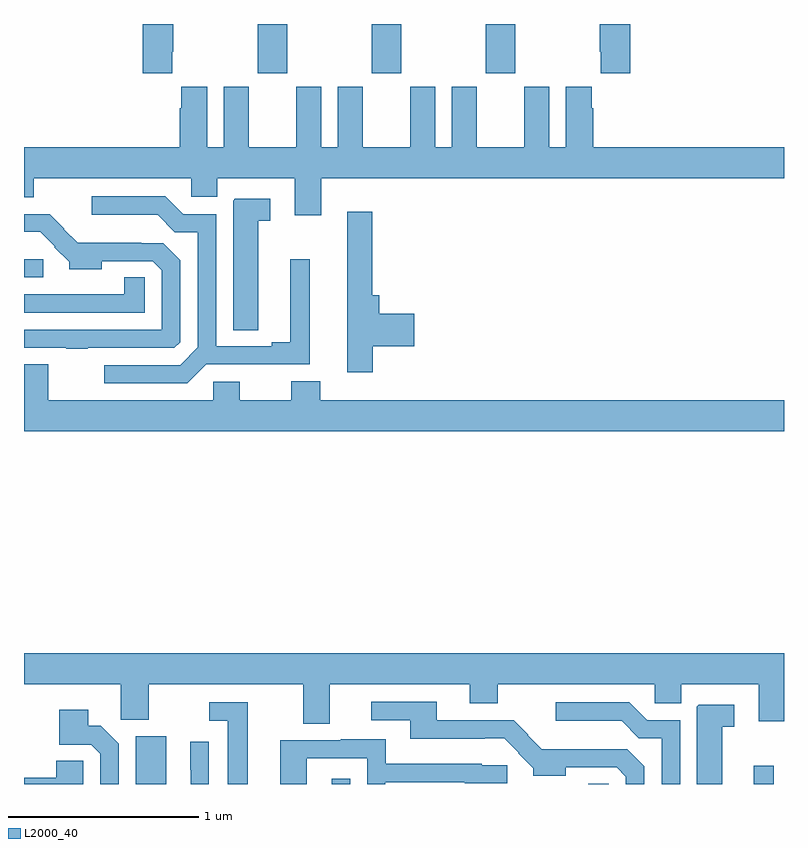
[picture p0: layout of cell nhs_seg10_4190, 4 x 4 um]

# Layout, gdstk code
import gdstk
lib = gdstk.Library(unit=1e-6, precision=1e-09)
def R(c, l, rs):  # rectangles x0, y0, x1, y1
    for r in rs: c.add(gdstk.rectangle(r[:2], r[2:], *l))
def A(c, l, x, y, w, h, nx, ny, dx, dy):  # array of equal rectangles
    R(c, l, [(x+i*dx, y+j*dy, x+i*dx+w, y+j*dy+h) for i in range(nx) for j in range(ny)])
def P(c, l, *ps):  # polygons
    for p in ps: c.add(gdstk.Polygon(p, *l))
L2000_40 = (2000, 40)

nhs_seg10_4190 = lib.new_cell('nhs_seg10_4190')
A(nhs_seg10_4190, L2000_40, 346.231, 1262.241, 0.155, 0.259, 3, 1, 0.6, 0)
R(nhs_seg10_4190, L2000_40, [(345.587,1258.5,345.748,1258.752), (346.619,1258.5,346.716,1258.528), (347.97,1258.5,348.078,1258.502), (348.842,1258.5,348.946,1258.597), (345,1261.167,345.102,1261.263)])
P(nhs_seg10_4190, L2000_40, [(348.191,1262.5),(348.031,1262.5),(348.031,1262.353),(348.035,1262.353),(348.035,1262.241),(348.191,1262.241)],
  [(345.781,1262.353),(345.786,1262.353),(345.786,1262.5),(345.626,1262.5),(345.626,1262.241),(345.781,1262.241)],
  [(346.564,1261.688),(349,1261.688),(349,1261.852),(347.996,1261.852),(347.996,1262.057),(347.989,1262.057),(347.989,1262.17),(347.852,1262.17),(347.852,1261.852),(347.764,1261.852),(347.764,1262.17),(347.633,1262.17),(347.633,1261.852),(347.383,1261.852),(347.383,1262.17),(347.252,1262.17),(347.252,1261.852),(347.164,1261.852),(347.164,1262.17),(347.033,1262.17),(347.033,1261.852),(346.783,1261.852),(346.783,1262.17),(346.652,1262.17),(346.652,1261.852),(346.564,1261.852),(346.564,1262.17),(346.433,1262.17),(346.433,1261.852),(346.183,1261.852),(346.183,1262.17),(346.052,1262.17),(346.052,1261.852),(345.964,1261.852),(345.964,1262.17),(345.827,1262.17),(345.827,1262.057),(345.821,1262.057),(345.821,1261.852),(345,1261.852),(345,1261.589),(345.051,1261.589),(345.051,1261.688),(345.879,1261.688),(345.879,1261.59),(346.018,1261.59),(346.018,1261.688),(346.424,1261.688),(346.424,1261.494),(346.564,1261.494)],
  [(345.958,1260.708),(346.504,1260.708),(346.504,1261.261),(346.4,1261.261),(346.4,1260.824),(346.304,1260.824),(346.304,1260.804),(346.011,1260.804),(346.011,1261.5),(345.837,1261.5),(345.744,1261.593),(345.357,1261.593),(345.357,1261.496),(345.703,1261.496),(345.794,1261.405),(345.915,1261.405),(345.915,1260.798),(345.822,1260.705),(345.423,1260.705),(345.423,1260.609),(345.859,1260.609)],
  [(346.234,1261.465),(346.297,1261.465),(346.297,1261.581),(346.11,1261.581),(346.1,1261.571),(346.1,1260.889),(346.234,1260.889)],
  [(346.835,1260.803),(347.053,1260.803),(347.053,1260.974),(346.871,1260.974),(346.871,1261.072),(346.832,1261.072),(346.832,1261.513),(346.7,1261.513),(346.7,1260.666),(346.835,1260.666)],
  [(345.335,1260.795),(345.792,1260.795),(345.822,1260.825),(345.822,1261.257),(345.733,1261.346),(345.617,1261.346),(345.617,1261.348),(345.283,1261.348),(345.209,1261.421),(345.211,1261.423),(345.135,1261.5),(345,1261.5),(345,1261.406),(345.086,1261.406),(345.162,1261.329),(345.159,1261.326),(345.238,1261.248),(345.238,1261.208),(345.409,1261.208),(345.409,1261.251),(345.678,1261.251),(345.726,1261.203),(345.726,1260.891),(345,1260.891),(345,1260.795),(345.223,1260.795),(345.223,1260.79),(345.335,1260.79)],
  [(345.636,1261.166),(345.528,1261.166),(345.528,1261.078),(345.273,1261.078),(345.273,1261.077),(345,1261.077),(345,1260.981),(345.636,1260.981)],
  [(349,1260.52),(346.559,1260.52),(346.559,1260.619),(346.406,1260.619),(346.406,1260.52),(346.135,1260.52),(346.135,1260.618),(345.996,1260.618),(345.996,1260.52),(345.127,1260.52),(345.127,1260.71),(345,1260.71),(345,1260.356),(349,1260.356)],
  [(346.609,1259.024),(347.345,1259.024),(347.345,1258.925),(347.493,1258.925),(347.493,1259.024),(348.321,1259.024),(348.321,1258.926),(348.46,1258.926),(348.46,1259.024),(348.866,1259.024),(348.866,1258.83),(349,1258.83),(349,1259.188),(345,1259.188),(345,1259.024),(345.51,1259.024),(345.51,1258.837),(345.657,1258.837),(345.657,1259.024),(346.469,1259.024),(346.469,1258.816),(346.609,1258.816)],
  [(348.264,1258.593),(348.175,1258.682),(348.059,1258.682),(348.059,1258.684),(347.725,1258.684),(347.651,1258.757),(347.653,1258.759),(347.577,1258.836),(347.173,1258.836),(347.173,1258.932),(346.827,1258.932),(346.827,1258.836),(347.033,1258.836),(347.033,1258.739),(347.426,1258.739),(347.426,1258.742),(347.528,1258.742),(347.604,1258.665),(347.601,1258.662),(347.68,1258.584),(347.68,1258.544),(347.851,1258.544),(347.851,1258.587),(348.12,1258.587),(348.168,1258.539),(348.168,1258.5),(348.264,1258.5)],
  [(348.453,1258.836),(348.279,1258.836),(348.186,1258.929),(347.799,1258.929),(347.799,1258.832),(348.145,1258.832),(348.236,1258.741),(348.357,1258.741),(348.357,1258.5),(348.453,1258.5)],
  [(346.177,1258.929),(345.975,1258.929),(345.975,1258.833),(346.073,1258.833),(346.073,1258.5),(346.177,1258.5)],
  [(348.676,1258.801),(348.739,1258.801),(348.739,1258.917),(348.552,1258.917),(348.542,1258.907),(348.542,1258.5),(348.676,1258.5)],
  [(345.498,1258.713),(345.405,1258.806),(345.337,1258.806),(345.337,1258.891),(345.185,1258.891),(345.185,1258.707),(345.354,1258.707),(345.402,1258.659),(345.402,1258.5),(345.498,1258.5)],
  [(346.488,1258.635),(346.806,1258.635),(346.806,1258.5),(346.902,1258.5),(346.902,1258.509),(347.319,1258.509),(347.319,1258.503),(347.544,1258.503),(347.544,1258.599),(347.409,1258.599),(347.409,1258.606),(346.903,1258.606),(346.903,1258.735),(346.667,1258.735),(346.667,1258.731),(346.349,1258.731),(346.349,1258.5),(346.488,1258.5)],
  [(345.972,1258.723),(345.876,1258.723),(345.876,1258.576),(345.878,1258.576),(345.878,1258.5),(345.972,1258.5)],
  [(345.313,1258.514),(345.312,1258.514),(345.312,1258.622),(345.17,1258.622),(345.17,1258.532),(345,1258.532),(345,1258.5),(345.313,1258.5)])

lib.write_gds('nhs_seg10_4190.gds')
